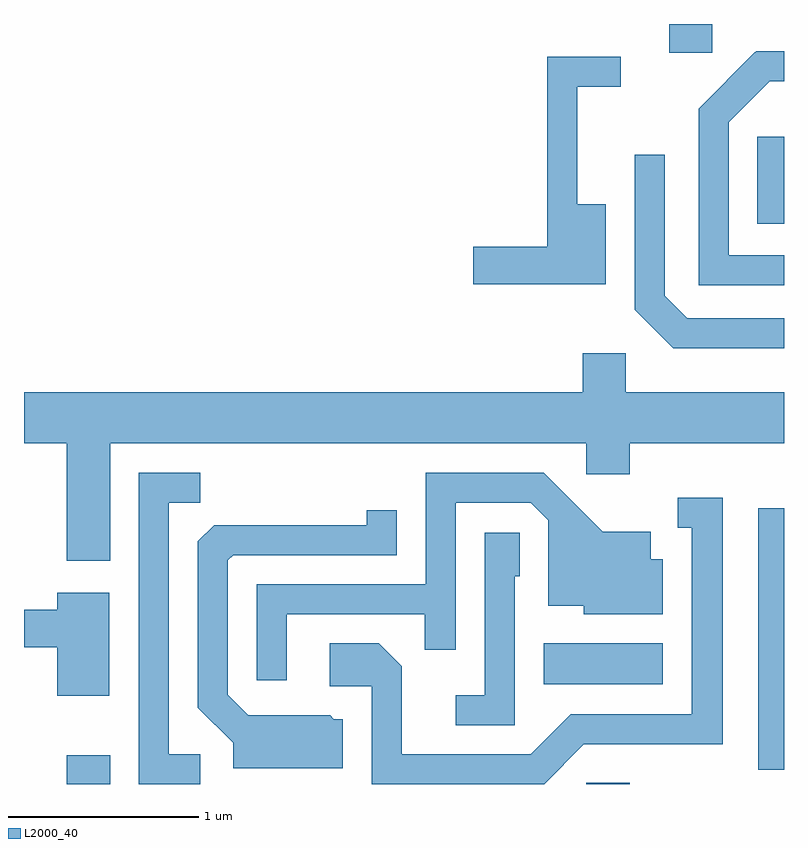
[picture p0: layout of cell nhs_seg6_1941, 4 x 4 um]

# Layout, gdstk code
import gdstk
lib = gdstk.Library(unit=1e-6, precision=1e-09)
def R(c, l, rs):  # rectangles x0, y0, x1, y1
    for r in rs: c.add(gdstk.rectangle(r[:2], r[2:], *l))
def P(c, l, *ps):  # polygons
    for p in ps: c.add(gdstk.Polygon(p, *l))
L2000_40 = (2000, 40)

nhs_seg6_1941 = lib.new_cell('nhs_seg6_1941')
R(nhs_seg6_1941, L2000_40, [(243.836,1628.162,244.064,1628.314), (246.571,1628.162,246.799,1628.169), (247.476,1628.236,247.611,1629.614), (246.346,1628.686,246.974,1628.904), (247.471,1631.111,247.611,1631.569), (247.006,1632.011,247.234,1632.162)])
P(nhs_seg6_1941, L2000_40, [(247.611,1630.944),(247.319,1630.944),(247.319,1631.644),(247.537,1631.861),(247.611,1631.861),(247.611,1632.019),(247.464,1632.019),(247.457,1632.013),(247.161,1631.717),(247.161,1630.786),(247.611,1630.786)],
  [(246.674,1631.214),(246.524,1631.214),(246.524,1631.831),(246.753,1631.831),(246.753,1631.989),(246.366,1631.989),(246.366,1630.989),(245.976,1630.989),(245.976,1630.791),(246.674,1630.791)],
  [(247.611,1630.614),(247.102,1630.614),(246.984,1630.732),(246.984,1631.473),(246.826,1631.473),(246.826,1630.659),(247.029,1630.456),(247.611,1630.456)],
  [(244.064,1629.956),(246.571,1629.956),(246.571,1629.791),(246.799,1629.791),(246.799,1629.956),(247.611,1629.956),(247.611,1630.224),(246.779,1630.224),(246.779,1630.429),(246.551,1630.429),(246.551,1630.224),(243.611,1630.224),(243.611,1629.956),(243.836,1629.956),(243.836,1629.336),(244.064,1629.336)],
  [(244.994,1629.056),(245.721,1629.056),(245.721,1628.868),(245.884,1628.868),(245.884,1629.641),(246.279,1629.641),(246.371,1629.549),(246.371,1629.101),(246.556,1629.101),(246.556,1629.056),(246.974,1629.056),(246.974,1629.344),(246.909,1629.344),(246.909,1629.489),(246.657,1629.489),(246.347,1629.799),(245.726,1629.799),(245.726,1629.214),(244.836,1629.214),(244.836,1628.708),(244.994,1628.708)],
  [(244.538,1628.319),(244.374,1628.319),(244.374,1629.641),(244.538,1629.641),(244.538,1629.799),(244.216,1629.799),(244.216,1628.162),(244.538,1628.162)],
  [(246.557,1628.371),(247.289,1628.371),(247.289,1629.669),(247.053,1629.669),(247.053,1629.511),(247.126,1629.511),(247.126,1628.529),(246.489,1628.529),(246.279,1628.319),(245.599,1628.319),(245.599,1628.782),(245.477,1628.904),(245.221,1628.904),(245.221,1628.676),(245.441,1628.676),(245.441,1628.162),(246.348,1628.162)],
  [(245.289,1628.504),(245.242,1628.504),(245.222,1628.524),(244.792,1628.524),(244.684,1628.632),(244.684,1629.339),(244.712,1629.366),(245.574,1629.366),(245.574,1629.603),(245.416,1629.603),(245.416,1629.524),(244.612,1629.524),(244.526,1629.439),(244.526,1628.564),(244.711,1628.379),(244.711,1628.246),(245.289,1628.246)],
  [(246.194,1629.256),(246.219,1629.256),(246.219,1629.484),(246.036,1629.484),(246.036,1628.629),(245.883,1628.629),(245.883,1628.471),(246.194,1628.471)],
  [(244.059,1629.169),(243.786,1629.169),(243.786,1629.079),(243.611,1629.079),(243.611,1628.881),(243.786,1628.881),(243.786,1628.626),(244.059,1628.626)])

lib.write_gds('nhs_seg6_1941.gds')
